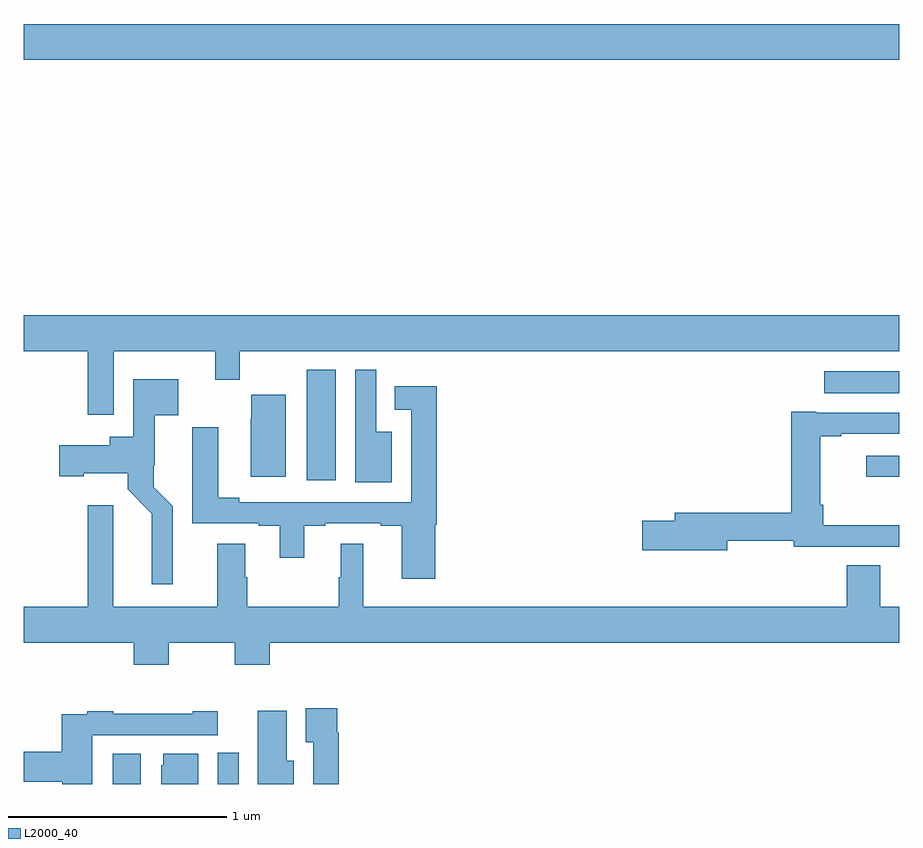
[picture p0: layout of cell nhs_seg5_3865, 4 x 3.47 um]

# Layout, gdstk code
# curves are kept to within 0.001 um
import gdstk
lib = gdstk.Library(unit=1e-6, precision=1e-09)
def R(c, l, rs):  # rectangles x0, y0, x1, y1
    for r in rs: c.add(gdstk.rectangle(r[:2], r[2:], *l))
def P(c, l, *ps):  # polygons
    for p in ps: c.add(gdstk.Polygon(p, *l))
L2000_40 = (2000, 40)

nhs_seg5_3865 = lib.new_cell('nhs_seg5_3865')
R(nhs_seg5_3865, L2000_40, [(339.407,838.799,339.535,838.937), (339.885,838.799,339.981,838.941), (340.292,840.186,340.426,840.691), (342.849,840.202,343,840.3), (342.657,840.584,343,840.685), (339,842.108,343,842.272)])
P(nhs_seg5_3865, L2000_40, [(339.412,840.776),(339.875,840.776),(339.875,840.646),(339.987,840.646),(339.987,840.776),(343,840.776),(343,840.94),(339,840.94),(339,840.776),(339.291,840.776),(339.291,840.486),(339.412,840.486)],
  [(340.681,840.409),(340.611,840.409),(340.611,840.691),(340.515,840.691),(340.515,840.177),(340.681,840.177)],
  [(339.681,840.069),(339.594,840.156),(339.594,840.256),(339.598,840.256),(339.598,840.485),(339.706,840.485),(339.706,840.649),(339.501,840.649),(339.501,840.385),(339.392,840.385),(339.392,840.348),(339.162,840.348),(339.162,840.206),(339.274,840.206),(339.274,840.218),(339.474,840.218),(339.474,840.145),(339.585,840.034),(339.584,839.712),(339.681,839.712)],
  [(340.88,839.984),(340.886,839.984),(340.886,840.616),(340.696,840.616),(340.696,840.51),(340.77,840.51),(340.77,840.087),(339.985,840.087),(339.985,840.107),(339.889,840.107),(339.889,840.43),(339.77,840.43),(339.77,839.991),(340.073,839.991),(340.073,839.979),(340.169,839.979),(340.169,839.832),(340.282,839.832),(340.282,839.979),(340.378,839.979),(340.378,839.991),(340.631,839.991),(340.631,839.979),(340.727,839.979),(340.727,839.736),(340.88,839.736)],
  [(340.198,840.578),(340.039,840.578),(340.039,840.47),(340.037,840.47),(340.037,840.204),(340.198,840.204)],
  [(342.214,839.91),(342.518,839.91),(342.518,839.883),(343,839.883),(343,839.982),(342.653,839.982),(342.653,840.076),(342.64,840.076),(342.64,840.387),(342.736,840.387),(342.736,840.399),(343,840.399),(343,840.495),(342.622,840.495),(342.622,840.5),(342.506,840.5),(342.506,840.038),(341.975,840.038),(341.975,840.002),(341.826,840.002),(341.826,839.867),(342.214,839.867)],
  [(339.663,839.444),(339.964,839.444),(339.964,839.345),(340.124,839.345),(340.124,839.444),(343,839.444),(343,839.608),(342.913,839.608),(342.913,839.798),(342.761,839.798),(342.761,839.608),(340.552,839.608),(340.552,839.896),(340.448,839.896),(340.448,839.744),(340.438,839.744),(340.438,839.608),(340.02,839.608),(340.02,839.744),(340.012,839.744),(340.012,839.896),(339.884,839.896),(339.884,839.608),(339.409,839.608),(339.409,840.073),(339.291,840.073),(339.291,839.608),(339,839.608),(339,839.444),(339.503,839.444),(339.503,839.345),(339.663,839.345)],
  [(340.439,839.033),(340.432,839.033),(340.432,839.146),(340.289,839.146),(340.289,838.99),(340.323,838.99),(340.323,838.799),(340.439,838.799)],
  [(340.234,838.906),(340.201,838.906),(340.201,839.134),(340.07,839.134),(340.07,838.799),(340.234,838.799)],
  [(339.313,839.022),(339.885,839.022),(339.885,839.131),(339.773,839.131),(339.773,839.121),(339.409,839.121),(339.409,839.131),(339.289,839.131),(339.289,839.118),(339.173,839.118),(339.173,838.946),(339,838.946),(339,838.81),(339.175,838.81),(339.175,838.799),(339.313,838.799)],
  [(339.796,838.937),(339.638,838.937),(339.638,838.884),(339.629,838.884),(339.629,838.799),(339.796,838.799)])

lib.write_gds('nhs_seg5_3865.gds')
